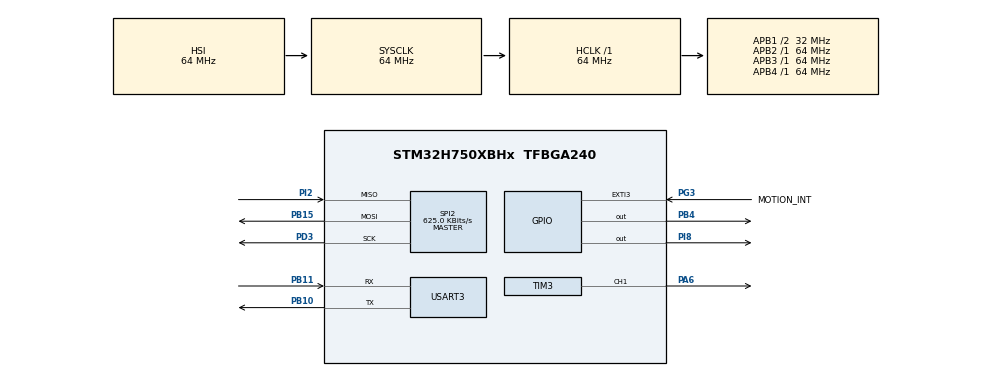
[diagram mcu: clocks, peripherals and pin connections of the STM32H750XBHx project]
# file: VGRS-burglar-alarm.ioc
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CORTEX_M7.default_mode_Activation=1
Mcu.Family=STM32H7
Mcu.Name=STM32H750XBHx
Mcu.Package=TFBGA240
NVIC.EXTI3_IRQn=true\:5\:0\:true\:false\:true\:true\:true\:true
NVIC.PriorityGroup=NVIC_PRIORITYGROUP_4
PA6.Signal=S_TIM3_CH1
PB10.Mode=Asynchronous
PB10.Signal=USART3_TX
PB11.Mode=Asynchronous
PB11.Signal=USART3_RX
PB15.Mode=Full_Duplex_Master
PB15.Signal=SPI2_MOSI
PB4\ (NJTRST).Signal=GPIO_Output
PD3.Mode=Full_Duplex_Master
PD3.Signal=SPI2_SCK
PG3.GPIO_Label=MOTION_INT
PG3.GPIO_PuPd=GPIO_PULLDOWN
PG3.Signal=GPXTI3
PI2.Mode=Full_Duplex_Master
PI2.Signal=SPI2_MISO
PI8.PinState=GPIO_PIN_SET
PI8.Signal=GPIO_Output
ProjectManager.HeapSize=0x200
ProjectManager.StackSize=0x400
ProjectManager.TargetToolchain=STM32CubeIDE
RCC.ADCFreq_Value=129000000
RCC.APB1Freq_Value=32000000
RCC.APB2Freq_Value=64000000
RCC.APB3Freq_Value=64000000
RCC.APB4Freq_Value=64000000
RCC.CortexFreq_Value=64000000
RCC.D2PPRE1=RCC_APB1_DIV2
RCC.DIVM1=4
RCC.DIVN1=10
RCC.HCLKFreq_Value=64000000
RCC.PLLFRACN=0
RCC.SYSCLKFreq_VALUE=64000000
RCC.USBFreq_Value=80000000
SH.S_TIM3_CH1.0=TIM3_CH1,PWM Generation1 CH1
SPI2.BaudRatePrescaler=SPI_BAUDRATEPRESCALER_128
SPI2.CalculateBaudRate=625.0 KBits/s
SPI2.DataSize=SPI_DATASIZE_8BIT
SPI2.Direction=SPI_DIRECTION_2LINES
SPI2.Mode=SPI_MODE_MASTER
SPI2.VirtualType=VM_MASTER
TIM3.Channel-PWM\ Generation1\ CH1=TIM_CHANNEL_1
TIM3.Period=100
TIM3.Prescaler=63
USART3.VirtualMode-Asynchronous=VM_ASYNC
VP_MEMORYMAP_VS_MEMORYMAP.Mode=CurAppReg
board=custom

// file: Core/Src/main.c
/* USER CODE BEGIN Header */
/**
  ******************************************************************************
  * @file           : main.c
  * @brief          : Main program body
  ******************************************************************************
  * @attention
  *
  * Copyright (c) 2026 STMicroelectronics.
  * All rights reserved.
  *
  * This software is licensed under terms that can be found in the LICENSE file
  * in the root directory of this software component.
  * If no LICENSE file comes with this software, it is provided AS-IS.
  *
  ******************************************************************************
  */
/* USER CODE END Header */
#include "main.h"

/* USER CODE BEGIN Includes */
// #include "mfrc522.h"
#include "mfrc522.h"
#include <stdio.h>
#include <string.h>
/* USER CODE END Includes */

/* USER CODE BEGIN PD */
#define PWM_STEPS   100
#define STEP_DELAY  10   // ms per step → 1s fade in/out
/* USER CODE END PD */

SPI_HandleTypeDef hspi2;

TIM_HandleTypeDef htim3;

UART_HandleTypeDef huart3;

/* USER CODE BEGIN PV */
uint8_t txFWversion[128];
uint8_t msg[256];
/* USER CODE END PV */

void SystemClock_Config(void);
static void MPU_Config(void);
static void MX_GPIO_Init(void);
static void MX_USART3_UART_Init(void);
static void MX_SPI2_Init(void);
static void MX_TIM3_Init(void);
/* USER CODE BEGIN PFP */
void LED_Breathe(void);
/* USER CODE END PFP */

/* USER CODE BEGIN 0 */

int _write(int fd, unsigned char *buf, int len) {
  if (fd == 1 || fd == 2) {                     // stdout or stderr ?
    HAL_UART_Transmit(&huart3, buf, len, 999);  // Print to the UART
  }
  return len;
}

uint8_t uid[4];

MFRC522_t rfID = {&hspi2, CS_GPIO_Port, CS_Pin, RESET_GPIO_Port, RESET_Pin};

/* USER CODE END 0 */

int main(void)
{

  /* MPU Configuration--------------------------------------------------------*/
  MPU_Config();

  /* MCU Configuration--------------------------------------------------------*/

  /* Reset of all peripherals, Initializes the Flash interface and the Systick. */
  HAL_Init();

  /* Configure the system clock */
  SystemClock_Config();

  /* Initialize all configured peripherals */
  MX_GPIO_Init();
  MX_USART3_UART_Init();
  MX_SPI2_Init();
  MX_TIM3_Init();
  /* USER CODE BEGIN 2 */

  strcpy((char*)msg, "\r\nLooking for MFRC522... \r\n");
  HAL_UART_Transmit(&huart3, msg, strlen((char*)msg), HAL_MAX_DELAY);
  MFRC522_Init(&rfID);

  LED_Breathe();

  // HAL_GPIO_WritePin(GPIOA, GPIO_PIN_6, GPIO_PIN_SET);
  /* USER CODE END 2 */

  /* Infinite loop */
  while (1)
  {

    /* USER CODE BEGIN 3 */
    if (waitcardDetect(&rfID) == STATUS_OK){
		  if (MFRC522_ReadUid(&rfID, uid) == STATUS_OK){
			  USER_LOG("CARD ID:%02X %02X %02X %02X", uid[0], uid[1], uid[2], uid[3]);
			  if ((uid[0] == 0x06) && (uid[1] == 0x04) &&(uid[2] == 0x27) &&(uid[3] == 0x1F)){
				  HAL_GPIO_WritePin(GPIOA, GPIO_PIN_8, GPIO_PIN_SET);
				  HAL_Delay(1000);
				  HAL_GPIO_WritePin(GPIOA, GPIO_PIN_8, GPIO_PIN_RESET);
			  }

			  else if ((uid[0] == 0x1D) && (uid[1] == 0x7D) &&(uid[2] == 0xCD) &&(uid[3] == 0x73)){
				  HAL_GPIO_WritePin(GPIOB, GPIO_PIN_15, GPIO_PIN_SET);
				  HAL_Delay(1000);
				  HAL_GPIO_WritePin(GPIOB, GPIO_PIN_15, GPIO_PIN_RESET);
			  }
		  }
		  waitcardRemoval(&rfID);
	  }

  }
  /* USER CODE END 3 */
}

void SystemClock_Config(void)
{
  RCC_OscInitTypeDef RCC_OscInitStruct = {0};
  RCC_ClkInitTypeDef RCC_ClkInitStruct = {0};

  /** Supply configuration update enable
  */
  HAL_PWREx_ConfigSupply(PWR_LDO_SUPPLY);

  /** Configure the main internal regulator output voltage
  */
  __HAL_PWR_VOLTAGESCALING_CONFIG(PWR_REGULATOR_VOLTAGE_SCALE3);

  while(!__HAL_PWR_GET_FLAG(PWR_FLAG_VOSRDY)) {}

  /** Initializes the RCC Oscillators according to the specified parameters
  * in the RCC_OscInitTypeDef structure.
  */
  RCC_OscInitStruct.OscillatorType = RCC_OSCILLATORTYPE_HSI;
  RCC_OscInitStruct.HSIState = RCC_HSI_DIV1;
  RCC_OscInitStruct.HSICalibrationValue = RCC_HSICALIBRATION_DEFAULT;
  RCC_OscInitStruct.PLL.PLLState = RCC_PLL_ON;
  RCC_OscInitStruct.PLL.PLLSource = RCC_PLLSOURCE_HSI;
  RCC_OscInitStruct.PLL.PLLM = 4;
  RCC_OscInitStruct.PLL.PLLN = 10;
  RCC_OscInitStruct.PLL.PLLP = 2;
  RCC_OscInitStruct.PLL.PLLQ = 2;
  RCC_OscInitStruct.PLL.PLLR = 2;
  RCC_OscInitStruct.PLL.PLLRGE = RCC_PLL1VCIRANGE_3;
  RCC_OscInitStruct.PLL.PLLVCOSEL = RCC_PLL1VCOMEDIUM;
  RCC_OscInitStruct.PLL.PLLFRACN = 0;
  if (HAL_RCC_OscConfig(&RCC_OscInitStruct) != HAL_OK)
  {
    Error_Handler();
  }

  /** Initializes the CPU, AHB and APB buses clocks
  */
  RCC_ClkInitStruct.ClockType = RCC_CLOCKTYPE_HCLK|RCC_CLOCKTYPE_SYSCLK
                              |RCC_CLOCKTYPE_PCLK1|RCC_CLOCKTYPE_PCLK2
                              |RCC_CLOCKTYPE_D3PCLK1|RCC_CLOCKTYPE_D1PCLK1;
  RCC_ClkInitStruct.SYSCLKSource = RCC_SYSCLKSOURCE_HSI;
  RCC_ClkInitStruct.SYSCLKDivider = RCC_SYSCLK_DIV1;
  RCC_ClkInitStruct.AHBCLKDivider = RCC_HCLK_DIV1;
  RCC_ClkInitStruct.APB3CLKDivider = RCC_APB3_DIV1;
  RCC_ClkInitStruct.APB1CLKDivider = RCC_APB1_DIV2;
  RCC_ClkInitStruct.APB2CLKDivider = RCC_APB2_DIV1;
  RCC_ClkInitStruct.APB4CLKDivider = RCC_APB4_DIV1;

  if (HAL_RCC_ClockConfig(&RCC_ClkInitStruct, FLASH_LATENCY_1) != HAL_OK)
  {
    Error_Handler();
  }
}

static void MX_SPI2_Init(void)
{

  /* SPI2 parameter configuration*/
  hspi2.Instance = SPI2;
  hspi2.Init.Mode = SPI_MODE_MASTER;
  hspi2.Init.Direction = SPI_DIRECTION_2LINES;
  hspi2.Init.DataSize = SPI_DATASIZE_8BIT;
  hspi2.Init.CLKPolarity = SPI_POLARITY_LOW;
  hspi2.Init.CLKPhase = SPI_PHASE_1EDGE;
  hspi2.Init.NSS = SPI_NSS_SOFT;
  hspi2.Init.BaudRatePrescaler = SPI_BAUDRATEPRESCALER_128;
  hspi2.Init.FirstBit = SPI_FIRSTBIT_MSB;
  hspi2.Init.TIMode = SPI_TIMODE_DISABLE;
  hspi2.Init.CRCCalculation = SPI_CRCCALCULATION_DISABLE;
  hspi2.Init.CRCPolynomial = 0x0;
  hspi2.Init.NSSPMode = SPI_NSS_PULSE_ENABLE;
  hspi2.Init.NSSPolarity = SPI_NSS_POLARITY_LOW;
  hspi2.Init.FifoThreshold = SPI_FIFO_THRESHOLD_01DATA;
  hspi2.Init.TxCRCInitializationPattern = SPI_CRC_INITIALIZATION_ALL_ZERO_PATTERN;
  hspi2.Init.RxCRCInitializationPattern = SPI_CRC_INITIALIZATION_ALL_ZERO_PATTERN;
  hspi2.Init.MasterSSIdleness = SPI_MASTER_SS_IDLENESS_00CYCLE;
  hspi2.Init.MasterInterDataIdleness = SPI_MASTER_INTERDATA_IDLENESS_00CYCLE;
  hspi2.Init.MasterReceiverAutoSusp = SPI_MASTER_RX_AUTOSUSP_DISABLE;
  hspi2.Init.MasterKeepIOState = SPI_MASTER_KEEP_IO_STATE_DISABLE;
  hspi2.Init.IOSwap = SPI_IO_SWAP_DISABLE;
  if (HAL_SPI_Init(&hspi2) != HAL_OK)
  {
    Error_Handler();
  }

}

static void MX_TIM3_Init(void)
{

  TIM_MasterConfigTypeDef sMasterConfig = {0};
  TIM_OC_InitTypeDef sConfigOC = {0};

  htim3.Instance = TIM3;
  htim3.Init.Prescaler = 63;
  htim3.Init.CounterMode = TIM_COUNTERMODE_UP;
  htim3.Init.Period = 100;
  htim3.Init.ClockDivision = TIM_CLOCKDIVISION_DIV1;
  htim3.Init.AutoReloadPreload = TIM_AUTORELOAD_PRELOAD_DISABLE;
  if (HAL_TIM_PWM_Init(&htim3) != HAL_OK)
  {
    Error_Handler();
  }
  sMasterConfig.MasterOutputTrigger = TIM_TRGO_RESET;
  sMasterConfig.MasterSlaveMode = TIM_MASTERSLAVEMODE_DISABLE;
  if (HAL_TIMEx_MasterConfigSynchronization(&htim3, &sMasterConfig) != HAL_OK)
  {
    Error_Handler();
  }
  sConfigOC.OCMode = TIM_OCMODE_PWM1;
  sConfigOC.Pulse = 0;
  sConfigOC.OCPolarity = TIM_OCPOLARITY_HIGH;
  sConfigOC.OCFastMode = TIM_OCFAST_DISABLE;
  if (HAL_TIM_PWM_ConfigChannel(&htim3, &sConfigOC, TIM_CHANNEL_1) != HAL_OK)
  {
    Error_Handler();
  }
  HAL_TIM_MspPostInit(&htim3);

}

static void MX_USART3_UART_Init(void)
{

  huart3.Instance = USART3;
  huart3.Init.BaudRate = 115200;
  huart3.Init.WordLength = UART_WORDLENGTH_8B;
  huart3.Init.StopBits = UART_STOPBITS_1;
  huart3.Init.Parity = UART_PARITY_NONE;
  huart3.Init.Mode = UART_MODE_TX_RX;
  huart3.Init.HwFlowCtl = UART_HWCONTROL_NONE;
  huart3.Init.OverSampling = UART_OVERSAMPLING_16;
  huart3.Init.OneBitSampling = UART_ONE_BIT_SAMPLE_DISABLE;
  huart3.Init.ClockPrescaler = UART_PRESCALER_DIV1;
  huart3.AdvancedInit.AdvFeatureInit = UART_ADVFEATURE_NO_INIT;
  if (HAL_UART_Init(&huart3) != HAL_OK)
  {
    Error_Handler();
  }
  if (HAL_UARTEx_SetTxFifoThreshold(&huart3, UART_TXFIFO_THRESHOLD_1_8) != HAL_OK)
  {
    Error_Handler();
  }
  if (HAL_UARTEx_SetRxFifoThreshold(&huart3, UART_RXFIFO_THRESHOLD_1_8) != HAL_OK)
  {
    Error_Handler();
  }
  if (HAL_UARTEx_DisableFifoMode(&huart3) != HAL_OK)
  {
    Error_Handler();
  }

}

static void MX_GPIO_Init(void)
{
  GPIO_InitTypeDef GPIO_InitStruct = {0};

  /* GPIO Ports Clock Enable */
  __HAL_RCC_GPIOB_CLK_ENABLE();
  __HAL_RCC_GPIOD_CLK_ENABLE();
  __HAL_RCC_GPIOI_CLK_ENABLE();
  __HAL_RCC_GPIOG_CLK_ENABLE();
  __HAL_RCC_GPIOA_CLK_ENABLE();

  /*Configure GPIO pin Output Level */
  HAL_GPIO_WritePin(GPIOB, GPIO_PIN_4, GPIO_PIN_RESET);

  /*Configure GPIO pin Output Level */
  HAL_GPIO_WritePin(GPIOI, GPIO_PIN_8, GPIO_PIN_SET);

  /*Configure GPIO pin : PB4 */
  GPIO_InitStruct.Pin = GPIO_PIN_4;
  GPIO_InitStruct.Mode = GPIO_MODE_OUTPUT_PP;
  GPIO_InitStruct.Pull = GPIO_NOPULL;
  GPIO_InitStruct.Speed = GPIO_SPEED_FREQ_LOW;
  HAL_GPIO_Init(GPIOB, &GPIO_InitStruct);

  /*Configure GPIO pin : PI8 */
  GPIO_InitStruct.Pin = GPIO_PIN_8;
  GPIO_InitStruct.Mode = GPIO_MODE_OUTPUT_PP;
  GPIO_InitStruct.Pull = GPIO_NOPULL;
  GPIO_InitStruct.Speed = GPIO_SPEED_FREQ_LOW;
  HAL_GPIO_Init(GPIOI, &GPIO_InitStruct);

  /*Configure GPIO pin : MOTION_INT_Pin */
  GPIO_InitStruct.Pin = MOTION_INT_Pin;
  GPIO_InitStruct.Mode = GPIO_MODE_IT_RISING;
  GPIO_InitStruct.Pull = GPIO_PULLDOWN;
  HAL_GPIO_Init(MOTION_INT_GPIO_Port, &GPIO_InitStruct);

  /* EXTI interrupt init*/
  HAL_NVIC_SetPriority(MOTION_INT_EXTI_IRQn, 5, 0);
  HAL_NVIC_EnableIRQ(MOTION_INT_EXTI_IRQn);

}

/* USER CODE BEGIN 4 */

void LED_Breathe()
{
    HAL_TIM_PWM_Start(&htim3, TIM_CHANNEL_1);

    while (1)
    {
        // Fade IN: 0% → 100%
        for (uint32_t i = 0; i <= PWM_STEPS; i++)
        {
            __HAL_TIM_SET_COMPARE(&htim3, TIM_CHANNEL_1, i);
            HAL_Delay(STEP_DELAY);
        }

        // Fade OUT: 100% → 0%
        for (int32_t i = PWM_STEPS; i >= 0; i--)
        {
            __HAL_TIM_SET_COMPARE(&htim3, TIM_CHANNEL_1, i);
            HAL_Delay(STEP_DELAY);
        }
    }
}
/* USER CODE END 4 */

 /* MPU Configuration */

void MPU_Config(void)
{
  MPU_Region_InitTypeDef MPU_InitStruct = {0};

  /* Disables the MPU */
  HAL_MPU_Disable();

  /** Initializes and configures the Region and the memory to be protected
  */
  MPU_InitStruct.Enable = MPU_REGION_ENABLE;
  MPU_InitStruct.Number = MPU_REGION_NUMBER0;
  MPU_InitStruct.BaseAddress = 0x0;
  MPU_InitStruct.Size = MPU_REGION_SIZE_4GB;
  MPU_InitStruct.SubRegionDisable = 0x87;
  MPU_InitStruct.TypeExtField = MPU_TEX_LEVEL0;
  MPU_InitStruct.AccessPermission = MPU_REGION_NO_ACCESS;
  MPU_InitStruct.DisableExec = MPU_INSTRUCTION_ACCESS_DISABLE;
  MPU_InitStruct.IsShareable = MPU_ACCESS_SHAREABLE;
  MPU_InitStruct.IsCacheable = MPU_ACCESS_NOT_CACHEABLE;
  MPU_InitStruct.IsBufferable = MPU_ACCESS_NOT_BUFFERABLE;

  HAL_MPU_ConfigRegion(&MPU_InitStruct);
  /* Enables the MPU */
  HAL_MPU_Enable(MPU_PRIVILEGED_DEFAULT);

}

void Error_Handler(void)
{
  __disable_irq();
  while (1)
  {
  }
}
